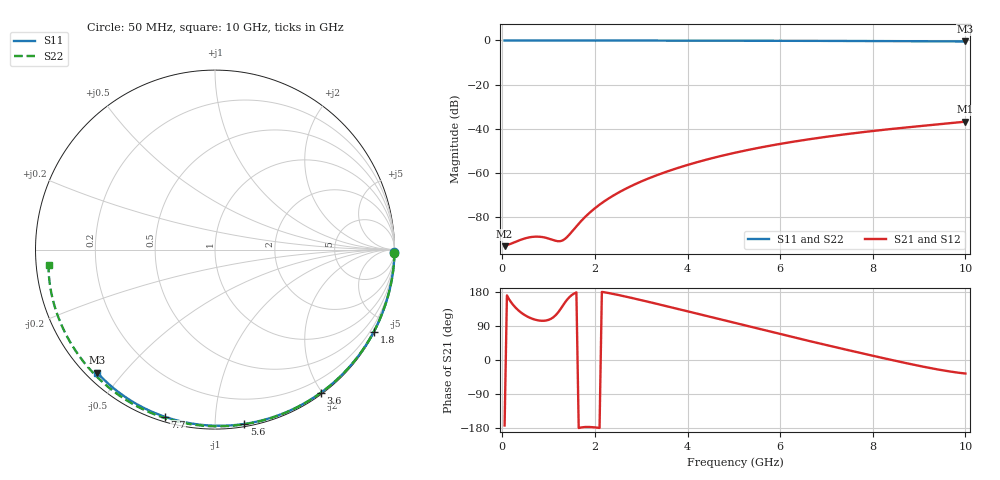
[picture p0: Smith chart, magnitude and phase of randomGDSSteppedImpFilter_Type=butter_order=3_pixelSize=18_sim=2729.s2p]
! freq	dB(S11)	phase(S11)	dB(S12)	phase(S12)
!  dB(S21)	phase(S21)	dB(S22)	phase(S22)
!S-par simulation data
#  GHz  S  DB  R 50
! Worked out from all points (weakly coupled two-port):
!   200 points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, 50 MHz to 10 GHz, reference 50 ohm
!   highest |S21| = -36.80 dB at 10 GHz (marker M1); lowest = -93.2 dB at 50 MHz (marker M2)
!   lowest |S11| = -0.5 dB at 10 GHz (marker M3), VSWR 38.33, Z = 1.54 - j21.3 ohm
!   |S11| at or under -10 dB: nowhere
!   |S22| runs from -0.6 to 0.0 dB; largest |S21 - S12| = 0
!   S11 on the Smith chart (normalised r, x): 50 MHz: open; 1.8 GHz: 0.04, -4.11; 3.6 GHz: 0.02, -1.99; 5.6 GHz: 0.02, -1.18; 7.7 GHz: 0.02, -0.74; 10 GHz: 0.03, -0.43
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0.05  -0.00 -0.8  -93.24 -172.8  -93.24 -172.8  -0.00 -1.0
0.45  -0.00 -6.9  -89.97 121.3  -89.97 121.3  -0.01 -9.0
0.85  -0.01 -13.0  -89.08 103.5  -89.08 103.5  -0.02 -16.9
1.3  -0.02 -19.9  -90.66 142.2  -90.66 142.2  -0.03 -25.7
1.75  -0.03 -26.6  -80.81 -177.3  -80.81 -177.3  -0.04 -34.4
1.8  -0.03 -27.3  -79.76 -176.8  -79.76 -176.8  -0.05 -35.4
1.95  -0.04 -29.6  -76.92 -177.2  -76.92 -177.2  -0.05 -38.3
2.1  -0.04 -31.8  -74.44 -179.3  -74.44 -179.3  -0.05 -41.1
2.45  -0.05 -36.9  -69.66 173.0  -69.66 173.0  -0.06 -47.7
2.9  -0.06 -43.5  -64.85 160.8  -64.85 160.8  -0.07 -56.0
3.4  -0.07 -50.6  -60.59 146.3  -60.59 146.3  -0.09 -65.1
3.6  -0.07 -53.5  -59.10 140.4  -59.10 140.4  -0.09 -68.7
4.3  -0.09 -63.2  -54.63 119.5  -54.63 119.5  -0.11 -80.9
5.05  -0.11 -73.3  -50.78 96.9  -50.78 96.9  -0.14 -93.5
5.6  -0.13 -80.5  -48.41 80.4  -48.41 80.4  -0.17 -102.6
6.15  -0.15 -87.6  -46.36 64.1  -46.36 64.1  -0.20 -111.4
6.7  -0.18 -94.5  -44.55 48.0  -44.55 48.0  -0.23 -120.1
7.7  -0.24 -106.7  -41.77 19.5  -41.77 19.5  -0.31 -135.8
8.35  -0.29 -114.4  -40.24 1.6  -40.24 1.6  -0.37 -146.0
9.25  -0.37 -125.0  -38.38 -21.5  -38.38 -21.5  -0.47 -160.6
9.65  -0.41 -129.7  -37.58 -30.1  -37.58 -30.1  -0.53 -167.7
10  -0.45 -133.8  -36.80 -35.7  -36.80 -35.7  -0.62 -174.7
